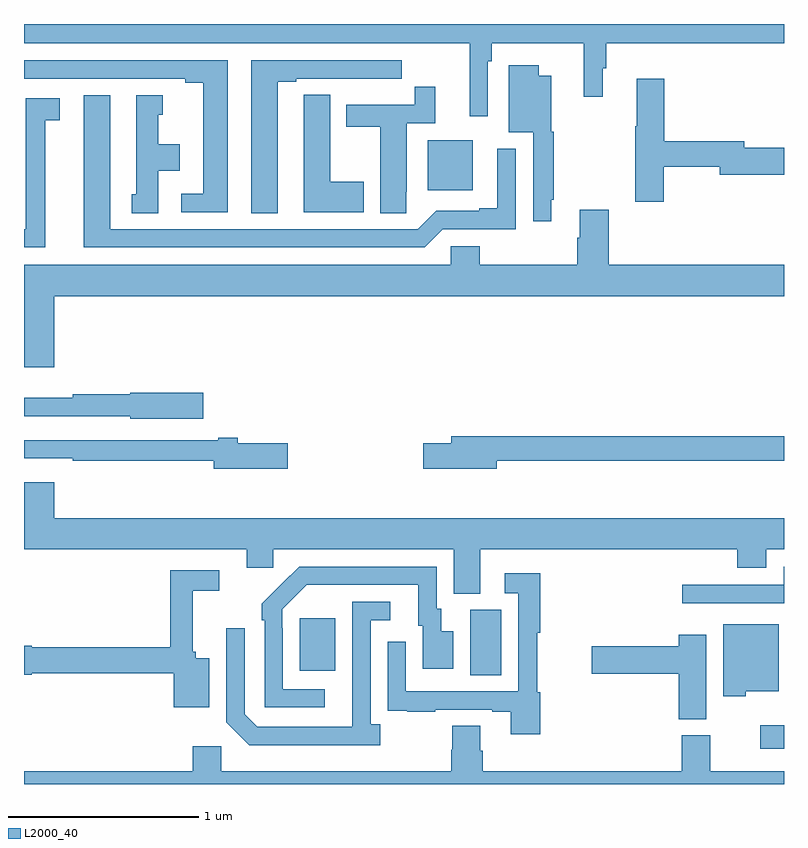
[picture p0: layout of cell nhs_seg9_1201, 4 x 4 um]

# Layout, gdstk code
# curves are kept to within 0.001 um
import gdstk
lib = gdstk.Library(unit=1e-6, precision=1e-09)
def R(c, l, rs):  # rectangles x0, y0, x1, y1
    for r in rs: c.add(gdstk.rectangle(r[:2], r[2:], *l))
def P(c, l, *ps):  # polygons
    for p in ps: c.add(gdstk.Polygon(p, *l))
L2000_40 = (2000, 40)

nhs_seg9_1201 = lib.new_cell('nhs_seg9_1201')
R(nhs_seg9_1201, L2000_40, [(180.876,1212.686,181,1212.808), (179.348,1213.072,179.512,1213.416), (178.451,1213.097,178.639,1213.372), (179.126,1215.626,179.362,1215.889)])
P(nhs_seg9_1201, L2000_40, [(179.442,1216.304),(179.462,1216.304),(179.462,1216.4),(179.947,1216.4),(179.947,1216.116),(180.046,1216.116),(180.046,1216.266),(180.065,1216.266),(180.065,1216.4),(181,1216.4),(181,1216.5),(177,1216.5),(177,1216.4),(179.345,1216.4),(179.345,1216.014),(179.442,1216.014)],
  [(178.336,1216.197),(178.432,1216.197),(178.432,1216.212),(178.708,1216.212),(178.708,1216.211),(178.874,1216.211),(178.874,1216.212),(178.987,1216.212),(178.987,1216.308),(178.196,1216.308),(178.196,1215.505),(178.336,1215.505)],
  [(178.072,1216.308),(177,1216.308),(177,1216.212),(177.848,1216.212),(177.848,1216.192),(177.944,1216.192),(177.944,1215.606),(177.828,1215.606),(177.828,1215.51),(178.072,1215.51)],
  [(179.776,1215.574),(179.788,1215.574),(179.788,1215.933),(179.776,1215.933),(179.776,1216.228),(179.71,1216.228),(179.71,1216.282),(179.552,1216.282),(179.552,1215.929),(179.679,1215.929),(179.679,1215.462),(179.776,1215.462)],
  [(180.366,1215.748),(180.662,1215.748),(180.662,1215.706),(181,1215.706),(181,1215.848),(180.79,1215.848),(180.79,1215.884),(180.371,1215.884),(180.371,1216.213),(180.224,1216.213),(180.224,1215.961),(180.217,1215.961),(180.217,1215.564),(180.366,1215.564)],
  [(179.013,1215.616),(179.014,1215.616),(179.014,1215.978),(179.165,1215.978),(179.165,1216.171),(179.056,1216.171),(179.056,1216.074),(178.697,1216.074),(178.697,1215.958),(178.874,1215.958),(178.874,1215.505),(179.013,1215.505)],
  [(178.789,1215.669),(178.612,1215.669),(178.612,1216.127),(178.473,1216.127),(178.473,1216.019),(178.472,1216.019),(178.472,1215.509),(178.789,1215.509)],
  [(179.205,1215.42),(179.589,1215.42),(179.589,1215.844),(179.492,1215.844),(179.492,1215.529),(179.396,1215.529),(179.396,1215.516),(179.169,1215.516),(179.073,1215.42),(177.454,1215.42),(177.454,1216.126),(177.314,1216.126),(177.314,1215.324),(179.109,1215.324)],
  [(177.706,1215.728),(177.82,1215.728),(177.82,1215.868),(177.706,1215.868),(177.706,1216.023),(177.73,1216.023),(177.73,1216.126),(177.59,1216.126),(177.59,1215.603),(177.566,1215.603),(177.566,1215.505),(177.706,1215.505)],
  [(177.112,1215.994),(177.187,1215.994),(177.187,1216.11),(177.008,1216.11),(177.008,1215.42),(177,1215.42),(177,1215.324),(177.112,1215.324)],
  [(177.16,1215.068),(181,1215.068),(181,1215.232),(180.077,1215.232),(180.077,1215.523),(179.924,1215.523),(179.924,1215.374),(179.912,1215.374),(179.912,1215.232),(179.399,1215.232),(179.399,1215.33),(179.247,1215.33),(179.247,1215.232),(177,1215.232),(177,1214.694),(177.16,1214.694)],
  [(177.943,1214.558),(177.558,1214.558),(177.558,1214.552),(177.256,1214.552),(177.256,1214.533),(177,1214.533),(177,1214.436),(177.558,1214.436),(177.558,1214.423),(177.943,1214.423)],
  [(179.488,1214.202),(181,1214.202),(181,1214.33),(179.249,1214.33),(179.249,1214.294),(179.1,1214.294),(179.1,1214.159),(179.488,1214.159)],
  [(178.387,1214.294),(178.126,1214.294),(178.126,1214.323),(178.022,1214.323),(178.022,1214.31),(177,1214.31),(177,1214.214),(177.256,1214.214),(177.256,1214.202),(177.998,1214.202),(177.998,1214.159),(178.387,1214.159)],
  [(179.401,1213.736),(180.755,1213.736),(180.755,1213.637),(180.907,1213.637),(180.907,1213.736),(181,1213.736),(181,1213.9),(177.16,1213.9),(177.16,1214.089),(177,1214.089),(177,1213.736),(178.172,1213.736),(178.172,1213.638),(178.311,1213.638),(178.311,1213.736),(179.261,1213.736),(179.261,1213.501),(179.401,1213.501)],
  [(178.582,1212.999),(178.362,1212.999),(178.362,1213.319),(178.359,1213.319),(178.359,1213.419),(178.488,1213.548),(179.075,1213.548),(179.075,1213.332),(179.099,1213.332),(179.099,1213.107),(179.26,1213.107),(179.26,1213.303),(179.197,1213.303),(179.197,1213.422),(179.172,1213.422),(179.172,1213.644),(178.448,1213.644),(178.251,1213.449),(178.251,1213.361),(178.266,1213.361),(178.266,1212.903),(178.582,1212.903)],
  [(181,1213.644),(180.999,1213.644),(180.999,1213.548),(180.465,1213.548),(180.465,1213.452),(181,1213.452)],
  [(177.976,1213.162),(177.904,1213.162),(177.904,1213.197),(177.887,1213.197),(177.887,1213.518),(178.027,1213.518),(178.027,1213.626),(177.769,1213.626),(177.769,1213.22),(177.042,1213.22),(177.042,1213.228),(177,1213.228),(177,1213.076),(177.042,1213.076),(177.042,1213.084),(177.788,1213.084),(177.788,1212.905),(177.976,1212.905)],
  [(179.717,1212.984),(179.702,1212.984),(179.702,1213.296),(179.717,1213.296),(179.717,1213.609),(179.529,1213.609),(179.529,1213.503),(179.601,1213.503),(179.601,1212.987),(179.01,1212.987),(179.01,1213.249),(178.914,1213.249),(178.914,1212.994),(178.915,1212.994),(178.915,1212.885),(179.017,1212.885),(179.017,1212.879),(179.165,1212.879),(179.165,1212.891),(179.465,1212.891),(179.465,1212.879),(179.561,1212.879),(179.561,1212.762),(179.717,1212.762)],
  [(178.876,1212.814),(178.824,1212.814),(178.824,1213.362),(178.927,1213.362),(178.927,1213.458),(178.728,1213.458),(178.727,1212.801),(178.227,1212.801),(178.161,1212.867),(178.161,1213.321),(178.065,1213.321),(178.065,1212.825),(178.186,1212.704),(178.876,1212.704)],
  [(180.798,1212.989),(180.973,1212.989),(180.973,1213.342),(180.68,1213.342),(180.68,1212.962),(180.798,1212.962)],
  [(180.592,1213.285),(180.446,1213.285),(180.446,1213.226),(179.988,1213.226),(179.988,1213.079),(180.446,1213.079),(180.446,1212.841),(180.592,1212.841)],
  [(181,1212.568),(180.613,1212.568),(180.613,1212.756),(180.461,1212.756),(180.461,1212.568),(179.414,1212.568),(179.414,1212.674),(179.401,1212.674),(179.401,1212.806),(179.254,1212.806),(179.254,1212.681),(179.249,1212.681),(179.249,1212.568),(178.038,1212.568),(178.038,1212.7),(177.887,1212.7),(177.887,1212.568),(177,1212.568),(177,1212.5),(181,1212.5)])

lib.write_gds('nhs_seg9_1201.gds')
